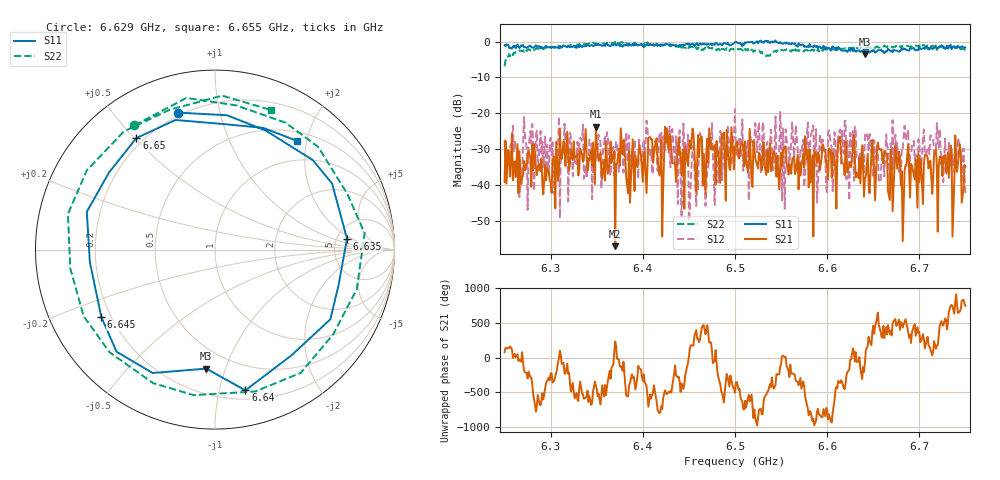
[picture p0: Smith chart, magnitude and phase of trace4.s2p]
# Hz S RI R 50
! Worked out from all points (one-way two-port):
!   401 points, 6.25 GHz to 6.75 GHz, reference 50 ohm
!   highest |S21| = -23.72 dB at 6.349 GHz (marker M1); lowest = -57.1 dB at 6.37 GHz (marker M2)
!   lowest |S11| = -3.5 dB at 6.641 GHz (marker M3), VSWR 4.97, Z = 18.1 - j43.1 ohm
!   |S11| at or under -10 dB: nowhere
!   |S22| runs from -6.9 to -0.1 dB; largest |S21 - S12| = 0.14
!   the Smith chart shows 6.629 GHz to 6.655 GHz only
!   S11 on the Smith chart (normalised r, x): 6.629 GHz: 0.18, +0.75; 6.635 GHz: 6.19, +1.64; 6.64 GHz: 0.27, -1.20; 6.645 GHz: 0.16, -0.27; 6.65 GHz: 0.17, +0.51; 6.655 GHz: 0.64, +1.83
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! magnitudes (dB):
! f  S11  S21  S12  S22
! 6.25 GHz  -1.0  -39.1  -27.3  -6.9
! 6.334 GHz  -1.6  -31.3  -27.7  -0.6
! 6.349 GHz  -1.0  -23.7  -31.2  -0.5
! 6.37 GHz  -0.6  -57.1  -30.5  -0.1
! 6.418 GHz  -0.9  -37.3  -25.5  -0.8
! 6.44 GHz  -0.9  -31.7  -24.7  -1.4
! 6.446 GHz  -0.8  -29.4  -27.9  -1.8
! 6.452 GHz  -0.8  -29.9  -38.5  -1.5
! 6.464 GHz  -0.9  -26.5  -27.2  -2.4
! 6.469 GHz  -0.9  -30.4  -40.5  -1.5
! 6.5 GHz  -0.2  -29.3  -18.8  -2.4
! 6.584 GHz  -1.3  -31.7  -24.5  -2.2
! 6.629 GHz  -2.0  -26.0  -38.8  -1.7
! 6.635 GHz  -2.6  -32.4  -31.9  -1.9
! 6.64 GHz  -1.9  -43.3  -37.0  -1.6
! 6.641 GHz  -3.5  -38.4  -26.4  -1.7
! 6.645 GHz  -2.7  -39.9  -30.7  -1.7
! 6.65 GHz  -2.4  -32.0  -37.9  -1.5
! 6.655 GHz  -2.4  -28.2  -28.1  -1.5
! 6.668 GHz  -2.5  -44.2  -40.0  -1.2
! 6.72 GHz  -1.8  -53.0  -27.4  -1.5
! 6.75 GHz  -1.7  -34.8  -42.3  -2.3
